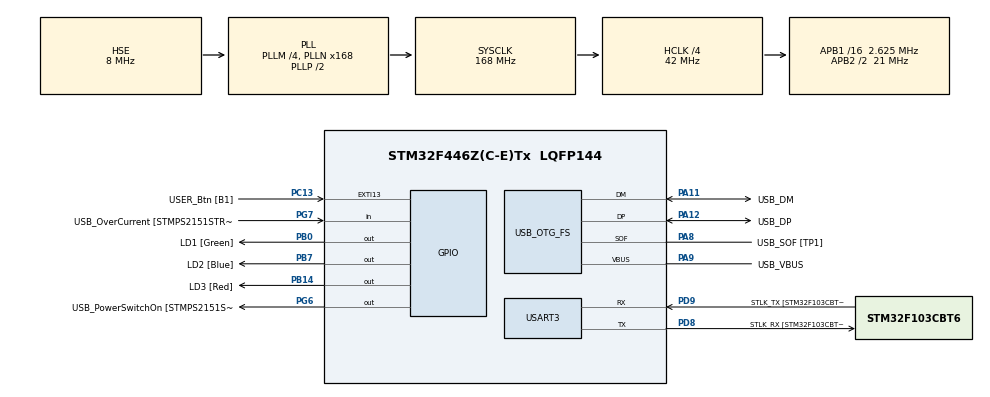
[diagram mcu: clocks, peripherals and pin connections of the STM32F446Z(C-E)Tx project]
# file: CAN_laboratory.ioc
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Mcu.Family=STM32F4
Mcu.Name=STM32F446Z(C-E)Tx
Mcu.Package=LQFP144
NVIC.PriorityGroup=NVIC_PRIORITYGROUP_4
PA10.GPIO_Label=USB_ID
PA10.Signal=USB_OTG_FS_ID
PA11.GPIO_Label=USB_DM
PA11.Mode=Device_Only
PA11.Signal=USB_OTG_FS_DM
PA12.GPIO_Label=USB_DP
PA12.Mode=Device_Only
PA12.Signal=USB_OTG_FS_DP
PA13.GPIO_Label=TMS
PA13.Mode=Serial_Wire
PA13.Signal=SYS_JTMS-SWDIO
PA14.GPIO_Label=TCK
PA14.Mode=Serial_Wire
PA14.Signal=SYS_JTCK-SWCLK
PA8.GPIO_Label=USB_SOF [TP1]
PA8.Mode=Activate_SOF_FS
PA8.Signal=USB_OTG_FS_SOF
PA9.GPIO_Label=USB_VBUS
PA9.Mode=Activate_VBUS
PA9.Signal=USB_OTG_FS_VBUS
PB0.GPIO_Label=LD1 [Green]
PB0.Signal=GPIO_Output
PB14.GPIO_Label=LD3 [Red]
PB14.Signal=GPIO_Output
PB7.GPIO_Label=LD2 [Blue]
PB7.Signal=GPIO_Output
PC13.GPIO_Label=USER_Btn [B1]
PC13.Signal=GPXTI13
PC14-OSC32_IN.Mode=LSE-External-Oscillator
PC14-OSC32_IN.Signal=RCC_OSC32_IN
PC15-OSC32_OUT.Mode=LSE-External-Oscillator
PC15-OSC32_OUT.Signal=RCC_OSC32_OUT
PD8.GPIO_Label=STLK_RX [STM32F103CBT6_PA3]
PD8.Mode=Asynchronous
PD8.Signal=USART3_TX
PD9.GPIO_Label=STLK_TX [STM32F103CBT6_PA2]
PD9.Mode=Asynchronous
PD9.Signal=USART3_RX
PG6.GPIO_Label=USB_PowerSwitchOn [STMPS2151STR_EN]
PG6.Signal=GPIO_Output
PG7.GPIO_Label=USB_OverCurrent [STMPS2151STR_FAULT]
PG7.Signal=GPIO_Input
PH0-OSC_IN.GPIO_Label=MCO [STM32F103CBT6_PA8]
PH0-OSC_IN.Mode=HSE-External-Clock-Source
PH0-OSC_IN.Signal=RCC_OSC_IN
PH1-OSC_OUT.Mode=HSE-External-Clock-Source
PH1-OSC_OUT.Signal=RCC_OSC_OUT
ProjectManager.HeapSize=0x200
ProjectManager.StackSize=0x400
ProjectManager.TargetToolchain=STM32CubeIDE
RCC.48MHZClocksFreq_Value=24000000
RCC.AHBCLKDivider=RCC_SYSCLK_DIV4
RCC.AHBFreq_Value=42000000
RCC.APB1CLKDivider=RCC_HCLK_DIV16
RCC.APB1Freq_Value=2625000
RCC.APB1TimFreq_Value=5250000
RCC.APB2CLKDivider=RCC_HCLK_DIV2
RCC.APB2Freq_Value=21000000
RCC.APB2TimFreq_Value=42000000
RCC.CortexFreq_Value=42000000
RCC.HCLKFreq_Value=42000000
RCC.HSE_VALUE=8000000
RCC.HSI_VALUE=16000000
RCC.PLLM=4
RCC.PLLMUL=RCC_PLL_MUL9
RCC.PLLN=168
RCC.PLLQ=7
RCC.PRESCALERUSB=RCC_USBCLKSOURCE_PLL_DIV1_5
RCC.SYSCLKFreq_VALUE=168000000
RCC.SYSCLKSource=RCC_SYSCLKSOURCE_PLLCLK
RCC.SYSCLKSourceVirtual=RCC_SYSCLKSOURCE_PLLCLK
RCC.USBFreq_Value=48000000
RCC.VCOOutputFreq_Value=336000000
USART3.VirtualMode=VM_ASYNC
USB_OTG_FS.VirtualMode=Device_Only
board=NUCLEO-F446ZE

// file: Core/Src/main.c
/* USER CODE BEGIN Header */
/**
 ******************************************************************************
 * @file           : main.c
 * @brief          : Main program body
 ******************************************************************************
 * @attention
 *
 * Copyright (c) 2025 STMicroelectronics.
 * All rights reserved.
 *
 * This software is licensed under terms that can be found in the LICENSE file
 * in the root directory of this software component.
 * If no LICENSE file comes with this software, it is provided AS-IS.
 *
 ******************************************************************************
 */
/* USER CODE END Header */
#include "main.h"

/* USER CODE BEGIN Includes */
#include <string.h>
#include <stdio.h>

/* USER CODE END Includes */

/* USER CODE BEGIN PD */
#define CAN_TX_STDID   0x0U
#define CAN_TX_TEXT    ""
/* USER CODE END PD */

UART_HandleTypeDef huart3;

PCD_HandleTypeDef hpcd_USB_OTG_FS;

/* USER CODE BEGIN PV */
static CAN_TxHeaderTypeDef txHeader;
static uint8_t txData[8];
static uint32_t txMailbox;

static CAN_RxHeaderTypeDef rxHeader;
static uint8_t rxData[8];
static uint32_t acceptedCanId = 0x32;  // 0xFFFFFFFF = print all IDs

/* USER CODE END PV */

void SystemClock_Config(void);
static void MX_GPIO_Init(void);
static void MX_USART3_UART_Init(void);
static void MX_USB_OTG_FS_PCD_Init(void);
/* USER CODE BEGIN PFP */
static void CAN_ConfigFilters_AcceptAll(void);
static void CAN_SendText(const char *text);
static void UART_Print(const char *s);
void HAL_CAN_RxFifo0MsgPendingCallback(CAN_HandleTypeDef *hcan);

/* USER CODE END PFP */

int main(void)
{

  /* MCU Configuration--------------------------------------------------------*/

  /* Reset of all peripherals, Initializes the Flash interface and the Systick. */
  HAL_Init();

  /* Configure the system clock */
  SystemClock_Config();

  /* Initialize all configured peripherals */
  MX_GPIO_Init();
  MX_USART3_UART_Init();
  MX_USB_OTG_FS_PCD_Init();
  /* USER CODE BEGIN 2 */
  // Configure CAN filters to accept all frames into FIFO0
  CAN_ConfigFilters_AcceptAll();

  // Start CAN peripheral (works for Normal or Loopback mode)
  if (HAL_CAN_Start(&hcan1) != HAL_OK) {
    char buf[64];
    uint32_t err = HAL_CAN_GetError(&hcan1);
    snprintf(buf, sizeof(buf), "CAN start failed, err=0x%08lX\r\n", (unsigned long) err);
    UART_Print(buf);
    Error_Handler();
  }

  // Enable RX FIFO0 message pending interrupt (interrupt-driven receive)
  if (HAL_CAN_ActivateNotification(&hcan1, CAN_IT_RX_FIFO0_MSG_PENDING) != HAL_OK) {
    UART_Print("CAN RX0 notification enable failed\r\n");
    Error_Handler();
  }

  UART_Print("\r\n-----------------------------------------------------------------------------\r\n"
             "CAN laboratory\r\n"
             "Date: December 2025\r\n"
             "Created by: Dominik Tendera, Jakub Stelmach, Jakub Kwiecien\r\n"
             "Below you will see your sent CAN frames and received ones if set correctly:\r\n"
             "-----------------------------------------------------------------------------\r\n");

  /* USER CODE END 2 */

  /* Infinite loop */
  while (1) {

    /* USER CODE BEGIN 3 */
    // 1) Periodically transmit a short ASCII text over CAN
    CAN_SendText(CAN_TX_TEXT);

    // RX is handled in interrupt callback; main loop only paces TX

    HAL_Delay(1000);  // Send once per second
  }
  /* USER CODE END 3 */
}

void SystemClock_Config(void)
{
  RCC_OscInitTypeDef RCC_OscInitStruct = {0};
  RCC_ClkInitTypeDef RCC_ClkInitStruct = {0};

  /** Configure the main internal regulator output voltage
  */
  __HAL_RCC_PWR_CLK_ENABLE();
  __HAL_PWR_VOLTAGESCALING_CONFIG(PWR_REGULATOR_VOLTAGE_SCALE3);

  /** Initializes the RCC Oscillators according to the specified parameters
  * in the RCC_OscInitTypeDef structure.
  */
  RCC_OscInitStruct.OscillatorType = RCC_OSCILLATORTYPE_HSE;
  RCC_OscInitStruct.HSEState = RCC_HSE_BYPASS;
  RCC_OscInitStruct.PLL.PLLState = RCC_PLL_ON;
  RCC_OscInitStruct.PLL.PLLSource = RCC_PLLSOURCE_HSE;
  RCC_OscInitStruct.PLL.PLLM = 4;
  RCC_OscInitStruct.PLL.PLLN = 168;
  RCC_OscInitStruct.PLL.PLLP = RCC_PLLP_DIV2;
  RCC_OscInitStruct.PLL.PLLQ = 7;
  RCC_OscInitStruct.PLL.PLLR = 2;
  if (HAL_RCC_OscConfig(&RCC_OscInitStruct) != HAL_OK)
  {
    Error_Handler();
  }

  /** Initializes the CPU, AHB and APB buses clocks
  */
  RCC_ClkInitStruct.ClockType = RCC_CLOCKTYPE_HCLK|RCC_CLOCKTYPE_SYSCLK
                              |RCC_CLOCKTYPE_PCLK1|RCC_CLOCKTYPE_PCLK2;
  RCC_ClkInitStruct.SYSCLKSource = RCC_SYSCLKSOURCE_PLLCLK;
  RCC_ClkInitStruct.AHBCLKDivider = RCC_SYSCLK_DIV4;
  RCC_ClkInitStruct.APB1CLKDivider = RCC_HCLK_DIV16;
  RCC_ClkInitStruct.APB2CLKDivider = RCC_HCLK_DIV2;

  if (HAL_RCC_ClockConfig(&RCC_ClkInitStruct, FLASH_LATENCY_1) != HAL_OK)
  {
    Error_Handler();
  }
}

static void MX_USART3_UART_Init(void)
{

  huart3.Instance = USART3;
  huart3.Init.BaudRate = 115200;
  huart3.Init.WordLength = UART_WORDLENGTH_8B;
  huart3.Init.StopBits = UART_STOPBITS_1;
  huart3.Init.Parity = UART_PARITY_NONE;
  huart3.Init.Mode = UART_MODE_TX_RX;
  huart3.Init.HwFlowCtl = UART_HWCONTROL_NONE;
  huart3.Init.OverSampling = UART_OVERSAMPLING_16;
  if (HAL_UART_Init(&huart3) != HAL_OK)
  {
    Error_Handler();
  }

}

static void MX_USB_OTG_FS_PCD_Init(void)
{

  hpcd_USB_OTG_FS.Instance = USB_OTG_FS;
  hpcd_USB_OTG_FS.Init.dev_endpoints = 6;
  hpcd_USB_OTG_FS.Init.speed = PCD_SPEED_FULL;
  hpcd_USB_OTG_FS.Init.dma_enable = DISABLE;
  hpcd_USB_OTG_FS.Init.phy_itface = PCD_PHY_EMBEDDED;
  hpcd_USB_OTG_FS.Init.Sof_enable = ENABLE;
  hpcd_USB_OTG_FS.Init.low_power_enable = DISABLE;
  hpcd_USB_OTG_FS.Init.lpm_enable = DISABLE;
  hpcd_USB_OTG_FS.Init.vbus_sensing_enable = ENABLE;
  hpcd_USB_OTG_FS.Init.use_dedicated_ep1 = DISABLE;
  if (HAL_PCD_Init(&hpcd_USB_OTG_FS) != HAL_OK)
  {
    Error_Handler();
  }

}

static void MX_GPIO_Init(void)
{
  GPIO_InitTypeDef GPIO_InitStruct = {0};

  /* GPIO Ports Clock Enable */
  __HAL_RCC_GPIOC_CLK_ENABLE();
  __HAL_RCC_GPIOH_CLK_ENABLE();
  __HAL_RCC_GPIOB_CLK_ENABLE();
  __HAL_RCC_GPIOD_CLK_ENABLE();
  __HAL_RCC_GPIOG_CLK_ENABLE();
  __HAL_RCC_GPIOA_CLK_ENABLE();

  /*Configure GPIO pin Output Level */
  HAL_GPIO_WritePin(GPIOB, LD1_Pin|LD3_Pin|LD2_Pin, GPIO_PIN_RESET);

  /*Configure GPIO pin Output Level */
  HAL_GPIO_WritePin(USB_PowerSwitchOn_GPIO_Port, USB_PowerSwitchOn_Pin, GPIO_PIN_RESET);

  /*Configure GPIO pin : USER_Btn_Pin */
  GPIO_InitStruct.Pin = USER_Btn_Pin;
  GPIO_InitStruct.Mode = GPIO_MODE_IT_RISING;
  GPIO_InitStruct.Pull = GPIO_NOPULL;
  HAL_GPIO_Init(USER_Btn_GPIO_Port, &GPIO_InitStruct);

  /*Configure GPIO pins : LD1_Pin LD3_Pin LD2_Pin */
  GPIO_InitStruct.Pin = LD1_Pin|LD3_Pin|LD2_Pin;
  GPIO_InitStruct.Mode = GPIO_MODE_OUTPUT_PP;
  GPIO_InitStruct.Pull = GPIO_NOPULL;
  GPIO_InitStruct.Speed = GPIO_SPEED_FREQ_LOW;
  HAL_GPIO_Init(GPIOB, &GPIO_InitStruct);

  /*Configure GPIO pin : USB_PowerSwitchOn_Pin */
  GPIO_InitStruct.Pin = USB_PowerSwitchOn_Pin;
  GPIO_InitStruct.Mode = GPIO_MODE_OUTPUT_PP;
  GPIO_InitStruct.Pull = GPIO_NOPULL;
  GPIO_InitStruct.Speed = GPIO_SPEED_FREQ_LOW;
  HAL_GPIO_Init(USB_PowerSwitchOn_GPIO_Port, &GPIO_InitStruct);

  /*Configure GPIO pin : USB_OverCurrent_Pin */
  GPIO_InitStruct.Pin = USB_OverCurrent_Pin;
  GPIO_InitStruct.Mode = GPIO_MODE_INPUT;
  GPIO_InitStruct.Pull = GPIO_NOPULL;
  HAL_GPIO_Init(USB_OverCurrent_GPIO_Port, &GPIO_InitStruct);

}

/* USER CODE BEGIN 4 */
static void UART_Print(const char *s) {
  if (!s)
    return;
  HAL_UART_Transmit(&huart3, (uint8_t*) s, (uint16_t) strlen(s), 100);
}

static void CAN_ConfigFilters_AcceptAll(void) {
  CAN_FilterTypeDef filter = { 0 };
  filter.FilterBank = 0;                 // Use bank 0 for CAN1
  filter.FilterMode = CAN_FILTERMODE_IDMASK;  // Mask mode
  filter.FilterScale = CAN_FILTERSCALE_32BIT;
  filter.FilterIdHigh = 0x0000;          // Accept all IDs
  filter.FilterIdLow = 0x0000;
  filter.FilterMaskIdHigh = 0x0000;
  filter.FilterMaskIdLow = 0x0000;
  filter.FilterFIFOAssignment = CAN_FILTER_FIFO0;
  filter.FilterActivation = ENABLE;
  filter.SlaveStartFilterBank = 14;  // Not used by CAN1 on F4, keep default-ish

  if (HAL_CAN_ConfigFilter(&hcan1, &filter) != HAL_OK) {
    UART_Print("Filter config failed\r\n");
    Error_Handler();
  }
}

static void CAN_SendText(const char *text) {
  if (!text)
    return;

  // Prepare a standard frame with ID 0x123
  txHeader.IDE = CAN_ID_STD;
  txHeader.StdId = CAN_TX_STDID;
  txHeader.RTR = CAN_RTR_DATA;
  txHeader.TransmitGlobalTime = DISABLE;

  size_t len = strlen(text);
  // Send in chunks of up to 8 bytes (Classical CAN)
  size_t offset = 0;
  while (offset < len) {
    uint8_t chunk = (uint8_t) ((len - offset) > 8 ? 8 : (len - offset));
    memcpy(txData, &text[offset], chunk);
    txHeader.DLC = chunk;

    if (HAL_CAN_AddTxMessage(&hcan1, &txHeader, txData, &txMailbox) != HAL_OK) {
      UART_Print("TX add failed. ACK: In Normal mode another node must be present; otherwise TX errors occur.\r\n");
      break;
    }

    // Wait until the mailbox is free (basic flow control)
    while (HAL_CAN_IsTxMessagePending(&hcan1, txMailbox)) {
      HAL_Delay(1);
    }

    // Print a TX line via UART
    {
      char line[256];
      int n = snprintf(line, sizeof(line), "TX id=0x%03lX dlc=%lu data=", (unsigned long) (txHeader.IDE == CAN_ID_STD ? txHeader.StdId : txHeader.ExtId), (unsigned long) txHeader.DLC);
      if (n < 0)
        n = 0;
      for (uint8_t i = 0; i < txHeader.DLC && (size_t) (n + 1) < sizeof(line) - 4; i++) {
        char c = (char) txData[i];
        line[n++] = (c >= 32 && c <= 126) ? c : '.';
      }
      line[n++] = '\r';
      line[n++] = '\n';
      line[n] = '\0';
      UART_Print(line);
    }
    offset += chunk;
  }
}

/* Interrupt callback: RX FIFO0 message pending */
void HAL_CAN_RxFifo0MsgPendingCallback(CAN_HandleTypeDef *hcan) {

  if (hcan != &hcan1)
    return;

  while (HAL_CAN_GetRxFifoFillLevel(&hcan1, CAN_RX_FIFO0) > 0) {

    if (HAL_CAN_GetRxMessage(&hcan1, CAN_RX_FIFO0, &rxHeader, rxData) == HAL_OK) {
      uint32_t idToCheck = (rxHeader.IDE == CAN_ID_STD) ? rxHeader.StdId : rxHeader.ExtId;

      if (acceptedCanId == 0xFFFFFFFFUL || idToCheck == acceptedCanId) {
        char line[256];
        int n = snprintf(line, sizeof(line), "RX id=0x%03lX dlc=%lu data=", (unsigned long) idToCheck, (unsigned long) rxHeader.DLC);

        if (n < 0)
          n = 0;
        for (uint8_t i = 0; i < rxHeader.DLC && (size_t) (n + 1) < sizeof(line) - 4; i++) {
          char c = (char) rxData[i];
          line[n++] = (c >= 32 && c <= 126) ? c : '.';
        }

        line[n++] = '\r';
        line[n++] = '\n';
        line[n] = '\0';
        UART_Print(line);
        HAL_GPIO_TogglePin(GPIOB, LD1_Pin);
      }
    } else {
      UART_Print("RX read error\r\n");
      break;
    }
  }
}

/* USER CODE END 4 */

void Error_Handler(void)
{
  __disable_irq();
  while (1) {
  }
}
